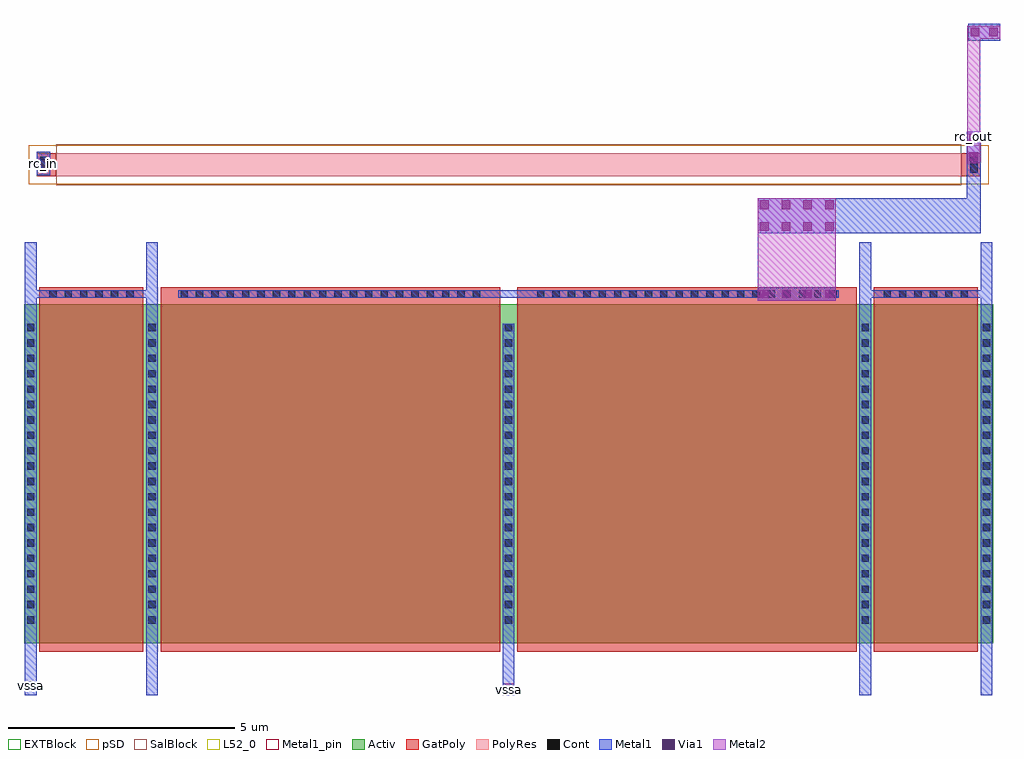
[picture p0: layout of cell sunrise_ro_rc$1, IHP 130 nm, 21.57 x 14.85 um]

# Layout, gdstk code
from math import pi, radians
import gdstk
lib = gdstk.Library(unit=1e-6, precision=1e-09)
def R(c, l, rs):  # rectangles x0, y0, x1, y1
    for r in rs: c.add(gdstk.rectangle(r[:2], r[2:], *l))
def A(c, l, x, y, w, h, nx, ny, dx, dy):  # array of equal rectangles
    R(c, l, [(x+i*dx, y+j*dy, x+i*dx+w, y+j*dy+h) for i in range(nx) for j in range(ny)])
Activ = (1, 0)
GatPoly = (5, 0)
Cont = (6, 0)
Metal1 = (8, 0)
Metal1_pin = (8, 2)
Metal2 = (10, 0)
pSD = (14, 0)
Via1 = (19, 0)
SalBlock = (28, 0)
L52_0 = (52, 0)
EXTBlock = (111, 0)
PolyRes = (128, 0)

via_stack_1_1 = lib.new_cell('via_stack$1$1')
R(via_stack_1_1, Metal1, [(-0.145,-0.865,0.145,0.865)])
R(via_stack_1_1, Metal2, [(-0.145,-0.865,0.145,0.865)])
A(via_stack_1_1, Via1, -0.095, -0.815, 0.19, 0.19, 1, 4, 0, 0.48)

via_stack_13 = lib.new_cell('via_stack$13')
R(via_stack_13, Metal1, [(-0.385,-0.865,0.385,0.865)])
R(via_stack_13, Metal2, [(-0.385,-0.865,0.385,0.865)])
A(via_stack_13, Via1, -0.335, -0.815, 0.19, 0.19, 1, 4, 0, 0.48)
A(via_stack_13, Via1, 0.145, -0.815, 0.19, 0.19, 1, 4, 0, 0.48)

sg13_lv_nmos_w6j6vy_1 = lib.new_cell('sg13_lv_nmos_W6J6VY$1')
R(sg13_lv_nmos_w6j6vy_1, Activ, [(-8.03,-3.845,8.03,3.655)])
R(sg13_lv_nmos_w6j6vy_1, GatPoly, [(-7.69,-4.025,-0.19,4.025), (0.19,-4.025,7.69,4.025)])
A(sg13_lv_nmos_w6j6vy_1, Cont, -7.96, -3.405, 0.16, 0.16, 3, 20, 7.88, 0.34)
A(sg13_lv_nmos_w6j6vy_1, Cont, -7.25, 3.795, 0.16, 0.16, 20, 1, 0.34, 0)
A(sg13_lv_nmos_w6j6vy_1, Cont, 0.63, 3.795, 0.16, 0.16, 20, 1, 0.34, 0)
A(sg13_lv_nmos_w6j6vy_1, Metal1, -8.01, -3.405, 0.26, 6.62, 3, 1, 7.88, 0)
R(sg13_lv_nmos_w6j6vy_1, Metal1, [(-7.3,3.795,-0.58,3.955), (0.58,3.795,7.3,3.955)])
sg13_lv_nmos_w6j6vy_1.add(gdstk.Label('D0', (-7.88,-0.095), layer=8, texttype=25))
sg13_lv_nmos_w6j6vy_1.add(gdstk.Label('G0', (-3.94,3.875), layer=8, texttype=25))
sg13_lv_nmos_w6j6vy_1.add(gdstk.Label('S1', (0,-0.095), layer=8, texttype=25))
sg13_lv_nmos_w6j6vy_1.add(gdstk.Label('G1', (3.94,3.875), layer=8, texttype=25))

sg13_lv_nmos_tdrhcc_2_1 = lib.new_cell('sg13_lv_nmos_TDRHCC$2$1')

rppd_jtbssj_1 = lib.new_cell('rppd_JTBSSJ$1')
R(rppd_jtbssj_1, GatPoly, [(-0.25,-10.43,0.25,-10), (-0.25,10,0.25,10.43)])
R(rppd_jtbssj_1, Cont, [(-0.08,-10.36,0.08,-10.2), (-0.08,10.2,0.08,10.36)])
R(rppd_jtbssj_1, Metal1, [(-0.23,-10.36,0.23,-10.2), (-0.23,10.2,0.23,10.36)])
R(rppd_jtbssj_1, pSD, [(-0.43,-10.61,0.43,10.61)])
R(rppd_jtbssj_1, SalBlock, [(-0.45,-10,0.45,10)])
R(rppd_jtbssj_1, L52_0, [(-0.25,-10,0.25,10)])
R(rppd_jtbssj_1, EXTBlock, [(-0.43,-10.61,0.43,10.61)])
R(rppd_jtbssj_1, PolyRes, [(-0.25,-10,0.25,10)])
rppd_jtbssj_1.add(gdstk.Label('R1', (0,10.28), layer=8, texttype=25))
rppd_jtbssj_1.add(gdstk.Label('R2', (0,-10.28), layer=8, texttype=25))

via_stack_2_1 = lib.new_cell('via_stack$2$1')
R(via_stack_2_1, Metal1, [(-0.35,-0.145,0.35,0.145)])
R(via_stack_2_1, Metal2, [(-0.35,-0.145,0.35,0.145)])
R(via_stack_2_1, Via1, [(-0.3,-0.095,-0.11,0.095), (0.11,-0.095,0.3,0.095)])

via_stack_3_1 = lib.new_cell('via_stack$3$1')
R(via_stack_3_1, Metal1, [(-0.145,-0.35,0.145,0.35)])
R(via_stack_3_1, Metal2, [(-0.145,-0.35,0.145,0.35)])
R(via_stack_3_1, Via1, [(-0.095,-0.3,0.095,-0.11), (-0.095,0.11,0.095,0.3)])

sg13_lv_nmos_tdrhcc_3 = lib.new_cell('sg13_lv_nmos_TDRHCC$3')
R(sg13_lv_nmos_tdrhcc_3, Activ, [(-1.49,-3.845,1.49,3.655)])
R(sg13_lv_nmos_tdrhcc_3, GatPoly, [(-1.15,-4.025,1.15,4.025)])
A(sg13_lv_nmos_tdrhcc_3, Cont, -1.42, -3.405, 0.16, 0.16, 1, 20, 0, 0.34)
A(sg13_lv_nmos_tdrhcc_3, Cont, 1.26, -3.405, 0.16, 0.16, 1, 20, 0, 0.34)
A(sg13_lv_nmos_tdrhcc_3, Cont, -0.93, 3.795, 0.16, 0.16, 6, 1, 0.34, 0)
R(sg13_lv_nmos_tdrhcc_3, Metal1, [(-1.47,-3.405,-1.21,3.215), (1.21,-3.405,1.47,3.215), (-1.02,3.795,1.02,3.955)])
sg13_lv_nmos_tdrhcc_3.add(gdstk.Label('D', (-1.34,-0.095), layer=8, texttype=25))
sg13_lv_nmos_tdrhcc_3.add(gdstk.Label('S', (1.34,-0.095), layer=8, texttype=25))
sg13_lv_nmos_tdrhcc_3.add(gdstk.Label('G', (0,3.875), layer=8, texttype=25))

sunrise_ro_rc_1 = lib.new_cell('sunrise_ro_rc$1')
R(sunrise_ro_rc_1, Cont, [(22.605,11.595,22.765,11.955), (43.165,11.595,43.325,11.955)])
R(sunrise_ro_rc_1, Metal1, [(43.12,14.515,43.82,14.895)])
R(sunrise_ro_rc_1, Metal1_pin, [(32.83,0.045,33.09,0.305), (22.31,0.185,22.47,0.345), (22.535,11.7,22.835,11.9), (43.09,12.305,43.39,12.505)])
sunrise_ro_rc_1.add(gdstk.FlexPath([(22.685,12.06),(22.685,11.545)], 0.3, ends="flush", simple_path=True, layer=8, datatype=0))  # Metal1
sunrise_ro_rc_1.add(gdstk.FlexPath([(43.24,12.015),(43.24,10.795)], 0.3, ends="flush", simple_path=True, layer=8, datatype=0))  # Metal1
sunrise_ro_rc_1.add(gdstk.FlexPath([(38.465,10.65),(43.39,10.65)], 0.77, ends="flush", simple_path=True, layer=8, datatype=0))  # Metal1
sunrise_ro_rc_1.add(gdstk.FlexPath([(43.24,12.005),(43.24,12.505)], 0.3, ends="flush", simple_path=True, layer=8, datatype=0))  # Metal1
sunrise_ro_rc_1.add(gdstk.FlexPath([(43.52,10.065),(43.52,8.255)], 0.26, ends="flush", simple_path=True, layer=8, datatype=0))  # Metal1
sunrise_ro_rc_1.add(gdstk.FlexPath([(40.84,10.065),(40.84,8.255)], 0.26, ends="flush", simple_path=True, layer=8, datatype=0))  # Metal1
sunrise_ro_rc_1.add(gdstk.FlexPath([(25.08,10.065),(25.08,8.255)], 0.26, ends="flush", simple_path=True, layer=8, datatype=0))  # Metal1
sunrise_ro_rc_1.add(gdstk.FlexPath([(22.4,10.065),(22.4,8.255)], 0.26, ends="flush", simple_path=True, layer=8, datatype=0))  # Metal1
sunrise_ro_rc_1.add(gdstk.FlexPath([(43.52,1.635),(43.52,0.045),(43.52,0.045)], 0.26, ends="flush", simple_path=True, layer=8, datatype=0))  # Metal1
sunrise_ro_rc_1.add(gdstk.FlexPath([(24.72,8.915),(24.96,8.915)], 0.16, ends="flush", simple_path=True, layer=8, datatype=0))  # Metal1
sunrise_ro_rc_1.add(gdstk.FlexPath([(22.49,8.915),(22.73,8.915)], 0.16, ends="flush", simple_path=True, layer=8, datatype=0))  # Metal1
sunrise_ro_rc_1.add(gdstk.FlexPath([(43.17,8.915),(43.41,8.915)], 0.16, ends="flush", simple_path=True, layer=8, datatype=0))  # Metal1
sunrise_ro_rc_1.add(gdstk.FlexPath([(40.935,8.915),(41.175,8.915)], 0.16, ends="flush", simple_path=True, layer=8, datatype=0))  # Metal1
sunrise_ro_rc_1.add(gdstk.FlexPath([(25.08,1.635),(25.08,0.045),(25.08,0.045)], 0.26, ends="flush", simple_path=True, layer=8, datatype=0))  # Metal1
sunrise_ro_rc_1.add(gdstk.FlexPath([(32.96,1.635),(32.96,0.045),(32.96,0.045)], 0.26, ends="flush", simple_path=True, layer=8, datatype=0))  # Metal1
sunrise_ro_rc_1.add(gdstk.FlexPath([(22.4,1.635),(22.4,0.045),(22.4,0.045)], 0.26, ends="flush", simple_path=True, layer=8, datatype=0))  # Metal1
sunrise_ro_rc_1.add(gdstk.FlexPath([(40.84,1.635),(40.84,0.045),(40.84,0.045)], 0.26, ends="flush", simple_path=True, layer=8, datatype=0))  # Metal1
sunrise_ro_rc_1.add(gdstk.FlexPath([(32.355,8.915),(33.61,8.915)], 0.16, ends="flush", simple_path=True, layer=8, datatype=0))  # Metal1
sunrise_ro_rc_1.add(gdstk.FlexPath([(43.24,12.315),(43.24,14.85),(43.24,14.85),(43.24,14.85)], 0.29, ends="flush", simple_path=True, layer=10, datatype=0))  # Metal2
sunrise_ro_rc_1.add(gdstk.FlexPath([(39.33,8.89),(39.33,10.585)], 1.73, ends="flush", simple_path=True, layer=10, datatype=0))  # Metal2
sunrise_ro_rc_1.add(gdstk.Reference(via_stack_1_1, (39.33,8.915), rotation=pi/2))
sunrise_ro_rc_1.add(gdstk.Reference(via_stack_13, (39.33,10.65), rotation=pi/2))
sunrise_ro_rc_1.add(gdstk.Reference(sg13_lv_nmos_w6j6vy_1, (32.96,5.04)))
sunrise_ro_rc_1.add(gdstk.Reference(sg13_lv_nmos_tdrhcc_2_1, (42.44,8.77)))
sunrise_ro_rc_1.add(gdstk.Reference(rppd_jtbssj_1, (32.965,11.775), rotation=pi/2))
sunrise_ro_rc_1.add(gdstk.Reference(via_stack_2_1, (43.24,12.155), rotation=pi/2))
sunrise_ro_rc_1.add(gdstk.Reference(via_stack_3_1, (43.47,14.705), rotation=pi/2))
sunrise_ro_rc_1.add(gdstk.Reference(sg13_lv_nmos_tdrhcc_3, (42.18,5.04)))
sunrise_ro_rc_1.add(gdstk.Reference(sg13_lv_nmos_tdrhcc_3, (23.74,5.04)))
sunrise_ro_rc_1.add(gdstk.Label('rc_out', (43.24,12.405), layer=8, texttype=25))
sunrise_ro_rc_1.add(gdstk.Label('rc_in', (22.685,11.802), layer=8, texttype=25))
sunrise_ro_rc_1.add(gdstk.Label('vssa', (32.96,0.175), layer=8, texttype=25))
sunrise_ro_rc_1.add(gdstk.Label('vssa', (22.39,0.265), layer=8, texttype=25))

lib.write_gds('sunrise_ro_rc_1.gds')
